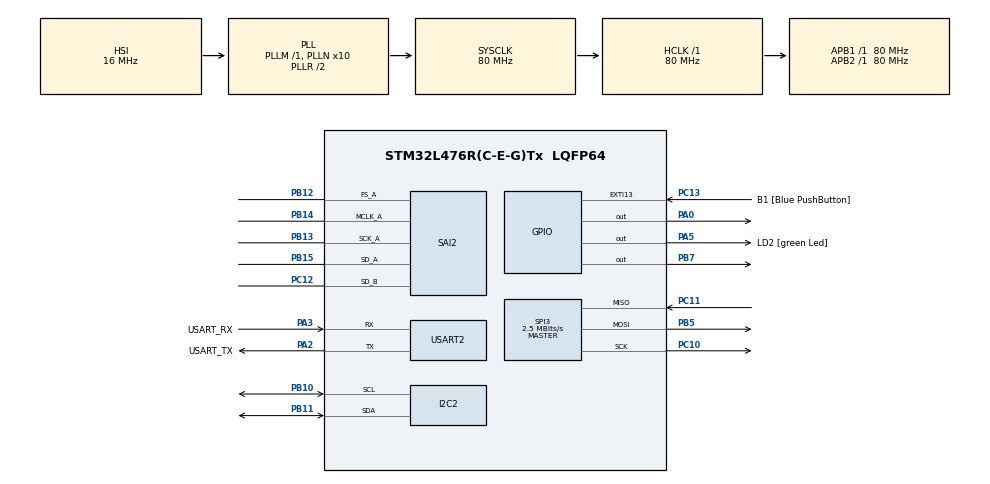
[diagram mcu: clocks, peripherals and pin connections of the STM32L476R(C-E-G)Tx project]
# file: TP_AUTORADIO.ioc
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Dma.Request0=SAI2_A
Dma.Request1=SAI2_B
Dma.SAI2_A.0.Direction=DMA_MEMORY_TO_PERIPH
Dma.SAI2_A.0.Instance=DMA1_Channel6
Dma.SAI2_A.0.MemDataAlignment=DMA_MDATAALIGN_HALFWORD
Dma.SAI2_A.0.MemInc=DMA_MINC_ENABLE
Dma.SAI2_A.0.Mode=DMA_CIRCULAR
Dma.SAI2_A.0.PeriphDataAlignment=DMA_PDATAALIGN_HALFWORD
Dma.SAI2_A.0.PeriphInc=DMA_PINC_DISABLE
Dma.SAI2_A.0.Priority=DMA_PRIORITY_LOW
Dma.SAI2_B.1.Direction=DMA_PERIPH_TO_MEMORY
Dma.SAI2_B.1.Instance=DMA1_Channel7
Dma.SAI2_B.1.MemDataAlignment=DMA_MDATAALIGN_HALFWORD
Dma.SAI2_B.1.MemInc=DMA_MINC_ENABLE
Dma.SAI2_B.1.Mode=DMA_CIRCULAR
Dma.SAI2_B.1.PeriphDataAlignment=DMA_PDATAALIGN_HALFWORD
Dma.SAI2_B.1.PeriphInc=DMA_PINC_DISABLE
Dma.SAI2_B.1.Priority=DMA_PRIORITY_LOW
FREERTOS.Tasks01=defaultTask,0,128,StartDefaultTask,Default,NULL,Dynamic,NULL,NULL
FREERTOS.configTOTAL_HEAP_SIZE=10000
I2C2.Timing=0x10D19CE4
Mcu.Family=STM32L4
Mcu.Name=STM32L476R(C-E-G)Tx
Mcu.Package=LQFP64
NVIC.DMA1_Channel6_IRQn=true\:5\:0\:false\:false\:true\:true\:false\:true\:true
NVIC.DMA1_Channel7_IRQn=true\:5\:0\:false\:false\:true\:true\:false\:true\:true
NVIC.PriorityGroup=NVIC_PRIORITYGROUP_4
NVIC.SAI2_IRQn=true\:5\:0\:false\:false\:true\:true\:true\:true\:true
NVIC.USART2_IRQn=true\:5\:0\:false\:false\:true\:true\:true\:true\:true
PA0.Signal=GPIO_Output
PA13\ (JTMS-SWDIO).GPIO_Label=TMS
PA13\ (JTMS-SWDIO).Mode=Serial_Wire
PA13\ (JTMS-SWDIO).Signal=SYS_JTMS-SWDIO
PA14\ (JTCK-SWCLK).GPIO_Label=TCK
PA14\ (JTCK-SWCLK).Mode=Serial_Wire
PA14\ (JTCK-SWCLK).Signal=SYS_JTCK-SWCLK
PA2.GPIO_Label=USART_TX
PA2.GPIO_Mode=GPIO_MODE_AF_PP
PA2.GPIO_PuPd=GPIO_NOPULL
PA2.GPIO_Speed=GPIO_SPEED_FREQ_VERY_HIGH
PA2.Mode=Asynchronous
PA2.Signal=USART2_TX
PA3.GPIO_Label=USART_RX
PA3.GPIO_Mode=GPIO_MODE_AF_PP
PA3.GPIO_PuPd=GPIO_NOPULL
PA3.GPIO_Speed=GPIO_SPEED_FREQ_VERY_HIGH
PA3.Mode=Asynchronous
PA3.Signal=USART2_RX
PA5.GPIO_Label=LD2 [green Led]
PA5.GPIO_ModeDefaultOutputPP=GPIO_MODE_OUTPUT_PP
PA5.GPIO_PuPd=GPIO_NOPULL
PA5.GPIO_Speed=GPIO_SPEED_FREQ_LOW
PA5.Signal=GPIO_Output
PB10.Mode=I2C
PB10.Signal=I2C2_SCL
PB11.Mode=I2C
PB11.Signal=I2C2_SDA
PB12.Mode=SAI_A_MasterWithClock
PB12.Signal=SAI2_FS_A
PB13.Mode=SAI_A_MasterWithClock
PB13.Signal=SAI2_SCK_A
PB14.Mode=SAI_A_MasterWithClock
PB14.Signal=SAI2_MCLK_A
PB15.Mode=SAI_A_MasterWithClock
PB15.Signal=SAI2_SD_A
PB3\ (JTDO-TRACESWO).GPIO_Label=SWO
PB3\ (JTDO-TRACESWO).Signal=SYS_JTDO-SWO
PB5.Mode=Full_Duplex_Master
PB5.Signal=SPI3_MOSI
PB7.Signal=GPIO_Output
PC10.Mode=Full_Duplex_Master
PC10.Signal=SPI3_SCK
PC11.Mode=Full_Duplex_Master
PC11.Signal=SPI3_MISO
PC12.Mode=SAI_B_SyncSlave
PC12.Signal=SAI2_SD_B
PC13.GPIO_Label=B1 [Blue PushButton]
PC13.GPIO_ModeDefaultEXTI=GPIO_MODE_IT_FALLING
PC13.GPIO_PuPd=GPIO_NOPULL
PC13.Signal=GPXTI13
PC14-OSC32_IN\ (PC14).Mode=LSE-External-Oscillator
PC14-OSC32_IN\ (PC14).Signal=RCC_OSC32_IN
PC15-OSC32_OUT\ (PC15).Mode=LSE-External-Oscillator
PC15-OSC32_OUT\ (PC15).Signal=RCC_OSC32_OUT
PH0-OSC_IN\ (PH0).Signal=RCC_OSC_IN
PH1-OSC_OUT\ (PH1).Signal=RCC_OSC_OUT
ProjectManager.HeapSize=0x200
ProjectManager.StackSize=0x1000
ProjectManager.TargetToolchain=STM32CubeIDE
RCC.ADCFreq_Value=104000000
RCC.AHBFreq_Value=80000000
RCC.APB1Freq_Value=80000000
RCC.APB1TimFreq_Value=80000000
RCC.APB2Freq_Value=80000000
RCC.APB2TimFreq_Value=80000000
RCC.CortexFreq_Value=80000000
RCC.HCLKFreq_Value=80000000
RCC.HSE_VALUE=8000000
RCC.HSI_VALUE=16000000
RCC.MSI_VALUE=4000000
RCC.PLLN=10
RCC.PLLSAI1N=13
RCC.PLLSAI1P=RCC_PLLP_DIV17
RCC.PLLSourceVirtual=RCC_PLLSOURCE_HSI
RCC.PREFETCH_ENABLE=1
RCC.SYSCLKFreq_VALUE=80000000
RCC.SYSCLKSource=RCC_SYSCLKSOURCE_PLLCLK
RCC.USBFreq_Value=104000000
RCC.VCOOutputFreq_Value=160000000
SAI2.AudioFrequency-SAI_A_MasterWithClock=SAI_AUDIO_FREQUENCY_48K
SAI2.ErrorAudioFreq-SAI_A_MasterWithClock=-0.42 %
SAI2.InitProtocol-SAI_A_MasterWithClock=Enable
SAI2.InitProtocol-SAI_B_SyncSlave=Enable
SAI2.Instance-SAI_A_MasterWithClock=SAI$Index_Block_A
SAI2.Instance-SAI_B_SyncSlave=SAI$Index_Block_B
SAI2.MClockEnable-SAI_A_MasterWithClock=SAI_MASTERCLOCK_ENABLE
SAI2.RealAudioFreq-SAI_A_MasterWithClock=47.794 KHz
SAI2.VirtualMode-SAI_A_MasterWithClock=VM_MASTER
SAI2.VirtualMode-SAI_B_SyncSlave=VM_SLAVE
SAI2.VirtualProtocol-SAI_A_BASIC=VM_BASIC_PROTOCOL
SAI2.VirtualProtocol-SAI_B_BASIC=VM_BASIC_PROTOCOL
SPI3.BaudRatePrescaler=SPI_BAUDRATEPRESCALER_32
SPI3.CalculateBaudRate=2.5 MBits/s
SPI3.DataSize=SPI_DATASIZE_8BIT
SPI3.Direction=SPI_DIRECTION_2LINES
SPI3.Mode=SPI_MODE_MASTER
SPI3.VirtualType=VM_MASTER
USART2.VirtualMode-Asynchronous=VM_ASYNC
VP_FREERTOS_VS_CMSIS_V1.Mode=CMSIS_V1
VP_SAI2_VP_$IpInstance_SAIA_SAI_BASIC.Mode=SAI_A_BASIC
VP_SAI2_VP_$IpInstance_SAIB_SAI_BASIC.Mode=SAI_B_BASIC
board=NUCLEO-L476RG

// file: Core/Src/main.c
/* USER CODE BEGIN Header */
/**
  ******************************************************************************
  * @file           : main.c
  * @brief          : Main program body
  ******************************************************************************
  * @attention
  *
  * Copyright (c) 2025 STMicroelectronics.
  * All rights reserved.
  *
  * This software is licensed under terms that can be found in the LICENSE file
  * in the root directory of this software component.
  * If no LICENSE file comes with this software, it is provided AS-IS.
  *
  ******************************************************************************
  */
/* USER CODE END Header */
#include "main.h"
#include "cmsis_os.h"
#include "dma.h"
#include "i2c.h"
#include "sai.h"
#include "spi.h"
#include "usart.h"
#include "gpio.h"

/* USER CODE BEGIN Includes */
#include <stdio.h>
#include "shell.h"
#include <stdlib.h>
#include <string.h>
#include "drv_uart1.h"
#include "GPIO_EXTANDER.h"
#include "sgtl5000.h"
#include "RCFilter.h"
/* USER CODE END Includes */

/* USER CODE BEGIN PTD */
#define AUDIO_BUFFER_SIZE_RX 256
#define AUDIO_BUFFER_SIZE_TX 256
QueueHandle_t uartQueue;      // Queue pour les caractères UART
uint8_t rx_byte; // caractère reçu
int16_t txBuffer[AUDIO_BUFFER_SIZE_TX];
int16_t rxBuffer[AUDIO_BUFFER_SIZE_RX];

//-------- Delay Buffer pour l'écho --------
extern int16_t delay_buffer[DELAY_BUF_SIZE];
extern uint32_t delay_index;
//----------------------------------------

extern MCP23S17_HandleTypeDef hmcp23s17;

h_RC_filter_t filter = {0};
/* USER CODE END PTD */

/* USER CODE BEGIN PV */
h_shell_t h_shell;
/* USER CODE END PV */

void SystemClock_Config(void);
void PeriphCommonClock_Config(void);
void MX_FREERTOS_Init(void);

/* USER CODE BEGIN 0 */
int __io_putchar(int ch)
{
	HAL_UART_Transmit(&huart2, (uint8_t*)&ch, 1, HAL_MAX_DELAY);

	return ch;
}

int fonction(h_shell_t * h_shell, int argc, char ** argv)
{
	int size = snprintf (h_shell->print_buffer, BUFFER_SIZE, "Je suis une fonction bidon\r\n");
	h_shell->drv.transmit(h_shell->print_buffer, size);

	return 0;
}

int LED(h_shell_t * h_shell, int argc, char ** argv)
{
	int numero;
	int size;
	//Select_LED('B', 1,1);
	if (strcmp(argv[1], "\r") == 0)
	{
		numero = atoi(argv[0]);
		if (numero > 8)
		{
			Select_LED('B', 16-numero,1);
		}
		else
		{
			Select_LED('A', numero,1);
		}
		size = snprintf(h_shell->print_buffer,BUFFER_SIZE,"c'est fait chef");
	}

	else if (strcmp(argv[1], "1") == 0)
	{
		numero = atoi(argv[0]) * 10 + atoi(argv[1]);
		Select_LED('B', 16-numero,1);
		size = snprintf(h_shell->print_buffer,BUFFER_SIZE,"c'est fait chef");
	}
	else
	{
		size = snprintf(h_shell->print_buffer,BUFFER_SIZE,"Il y a pas assez de led");
	}
	drv_uart1_transmit(h_shell->print_buffer,size);
	return 0;

}

int cutoff(h_shell_t * h_shell, int argc, char ** argv)
{
	int size;
	if (atoi(argv[1])>0 && atoi(argv[1]) < 1000000000)
	{
		RC_filter_init(&filter,atoi(argv[1]), 48000);
		size = snprintf(h_shell->print_buffer,BUFFER_SIZE,"la frequence a bien ete change");

	}
	else{
		size = snprintf(h_shell->print_buffer,BUFFER_SIZE,"la frequence est trop haut ou trop basse !");
	}
	drv_uart1_transmit(h_shell->print_buffer,size);
	return 0;
}

void Task_shell(void)
{
	  shell_init(&h_shell);
	  shell_add(&h_shell,'f', fonction, "Une fonction inutile");
	  shell_add(&h_shell,'L',LED,"Une fonction pour allumer les LEDs");
	  shell_add(&h_shell,'C',cutoff,"Une fonction pour changer la fréquence de coupure");

	  shell_run(&h_shell);
}

void Task_MIC(void const *argument)
{
    (void)argument;  // Si tu utilises osThread

    for(;;)
    {
    	transmit_mic(&filter,txBuffer,rxBuffer,AUDIO_BUFFER_SIZE_RX);
    }
}
/* USER CODE END 0 */

int main(void)
{

  /* MCU Configuration--------------------------------------------------------*/

  /* Reset of all peripherals, Initializes the Flash interface and the Systick. */
  HAL_Init();

  /* Configure the system clock */
  SystemClock_Config();

  /* Configure the peripherals common clocks */
  PeriphCommonClock_Config();

  /* Initialize all configured peripherals */
  MX_GPIO_Init();
  MX_DMA_Init();
  MX_USART2_UART_Init();
  MX_SPI3_Init();
  MX_I2C2_Init();
  MX_SAI2_Init();
  /* USER CODE BEGIN 2 */
  //h_shell.drv.receive = drv_uart1_receive;
  MCP23S17_Init();
  MCP23S17_SetAllPinsHigh();
  __HAL_SAI_ENABLE(&hsai_BlockA2);

  uint8_t chip_id = 0;
  HAL_StatusTypeDef status;

  status = HAL_I2C_Mem_Read(
      &hi2c2,              // Handle I2C2
      0x14,           // Adresse I2C du CODEC (décalée)
      0x0000,              // Adresse du registre CHIP_ID
      I2C_MEMADD_SIZE_16BIT,
      &chip_id,            // Buffer où stocker la donnée
      1,                   // Lire 1 octet
      100                  // Timeout
  );

  h_shell.drv.transmit = drv_uart1_transmit;
  uartQueue = xQueueCreate(32, sizeof(uint8_t));
  HAL_UART_Receive_IT(&huart2, &rx_byte, 1);

  uint16_t sgtl_address = 0x14;
  uint16_t data;

  h_sgtl5000_t h_sgtl5000;
  h_sgtl5000.hi2c = &hi2c2;
  h_sgtl5000.dev_address = sgtl_address;

  sgtl5000_init(&h_sgtl5000);

  //generateTriangle(txBuffer, AUDIO_BUFFER_SIZE, 10000);
  //generateSquare(txBuffer, AUDIO_BUFFER_SIZE, 30000);
  HAL_SAI_Transmit_DMA(&hsai_BlockA2, txBuffer, AUDIO_BUFFER_SIZE_TX);
  HAL_SAI_Receive_DMA(&hsai_BlockB2, rxBuffer, AUDIO_BUFFER_SIZE_RX);

  RC_filter_init(&filter,10000, 48000);

  xTaskCreate(Task_shell, "Shell", 512, NULL, 1, NULL);
  xTaskCreate(Task_MIC, "Mic", 512, NULL, 1, NULL);

  /* USER CODE END 2 */

  /* Call init function for freertos objects (in cmsis_os2.c) */
  MX_FREERTOS_Init();

  /* Start scheduler */
  osKernelStart();

  /* We should never get here as control is now taken by the scheduler */

  /* Infinite loop */
  while (1)
  {

  }
}

void SystemClock_Config(void)
{
  RCC_OscInitTypeDef RCC_OscInitStruct = {0};
  RCC_ClkInitTypeDef RCC_ClkInitStruct = {0};

  /** Configure the main internal regulator output voltage
  */
  if (HAL_PWREx_ControlVoltageScaling(PWR_REGULATOR_VOLTAGE_SCALE1) != HAL_OK)
  {
    Error_Handler();
  }

  /** Initializes the RCC Oscillators according to the specified parameters
  * in the RCC_OscInitTypeDef structure.
  */
  RCC_OscInitStruct.OscillatorType = RCC_OSCILLATORTYPE_HSI;
  RCC_OscInitStruct.HSIState = RCC_HSI_ON;
  RCC_OscInitStruct.HSICalibrationValue = RCC_HSICALIBRATION_DEFAULT;
  RCC_OscInitStruct.PLL.PLLState = RCC_PLL_ON;
  RCC_OscInitStruct.PLL.PLLSource = RCC_PLLSOURCE_HSI;
  RCC_OscInitStruct.PLL.PLLM = 1;
  RCC_OscInitStruct.PLL.PLLN = 10;
  RCC_OscInitStruct.PLL.PLLP = RCC_PLLP_DIV7;
  RCC_OscInitStruct.PLL.PLLQ = RCC_PLLQ_DIV2;
  RCC_OscInitStruct.PLL.PLLR = RCC_PLLR_DIV2;
  if (HAL_RCC_OscConfig(&RCC_OscInitStruct) != HAL_OK)
  {
    Error_Handler();
  }

  /** Initializes the CPU, AHB and APB buses clocks
  */
  RCC_ClkInitStruct.ClockType = RCC_CLOCKTYPE_HCLK|RCC_CLOCKTYPE_SYSCLK
                              |RCC_CLOCKTYPE_PCLK1|RCC_CLOCKTYPE_PCLK2;
  RCC_ClkInitStruct.SYSCLKSource = RCC_SYSCLKSOURCE_PLLCLK;
  RCC_ClkInitStruct.AHBCLKDivider = RCC_SYSCLK_DIV1;
  RCC_ClkInitStruct.APB1CLKDivider = RCC_HCLK_DIV1;
  RCC_ClkInitStruct.APB2CLKDivider = RCC_HCLK_DIV1;

  if (HAL_RCC_ClockConfig(&RCC_ClkInitStruct, FLASH_LATENCY_4) != HAL_OK)
  {
    Error_Handler();
  }
}

void PeriphCommonClock_Config(void)
{
  RCC_PeriphCLKInitTypeDef PeriphClkInit = {0};

  /** Initializes the peripherals clock
  */
  PeriphClkInit.PeriphClockSelection = RCC_PERIPHCLK_SAI2;
  PeriphClkInit.Sai2ClockSelection = RCC_SAI2CLKSOURCE_PLLSAI1;
  PeriphClkInit.PLLSAI1.PLLSAI1Source = RCC_PLLSOURCE_HSI;
  PeriphClkInit.PLLSAI1.PLLSAI1M = 1;
  PeriphClkInit.PLLSAI1.PLLSAI1N = 13;
  PeriphClkInit.PLLSAI1.PLLSAI1P = RCC_PLLP_DIV17;
  PeriphClkInit.PLLSAI1.PLLSAI1Q = RCC_PLLQ_DIV2;
  PeriphClkInit.PLLSAI1.PLLSAI1R = RCC_PLLR_DIV2;
  PeriphClkInit.PLLSAI1.PLLSAI1ClockOut = RCC_PLLSAI1_SAI1CLK;
  if (HAL_RCCEx_PeriphCLKConfig(&PeriphClkInit) != HAL_OK)
  {
    Error_Handler();
  }
}

/* USER CODE BEGIN 4 */
void HAL_UART_RxCpltCallback(UART_HandleTypeDef *huart)
{
    if(huart->Instance == USART2) // Vérifier qu'il s'agit bien de l'UART2
    {
    	BaseType_t xHigherPriorityTaskWoken = pdFALSE;
		xQueueSendFromISR(uartQueue, &rx_byte, &xHigherPriorityTaskWoken);

		// Relancer la réception
		HAL_UART_Receive_IT(&huart2, &rx_byte, 1);

		// Si une tâche a été réveillée par l’ISR, demander un switch
		portYIELD_FROM_ISR(xHigherPriorityTaskWoken);
    }
}

void HAL_SAI_TxHalfCpltCallback(SAI_HandleTypeDef *hsai)
{
    //generateTriangle(&txBuffer[0], AUDIO_BUFFER_SIZE/2, 12000);
}

void HAL_SAI_TxCpltCallback(SAI_HandleTypeDef *hsai)
{
    //generateTriangle(&txBuffer[AUDIO_BUFFER_SIZE/2], AUDIO_BUFFER_SIZE/2, 12000);
}

void HAL_SAI_RxHalfCpltCallback(SAI_HandleTypeDef *hsai)
{
	if (hsai->Instance == SAI2_Block_B)
	{
		Process_Audio_Buffer(rxBuffer,txBuffer, AUDIO_BUFFER_SIZE_RX / 2);
	}
}

void HAL_SAI_RxCpltCallback(SAI_HandleTypeDef *hsai)
{
    Process_Audio_Buffer(&rxBuffer[AUDIO_BUFFER_SIZE_RX / 2], &txBuffer[AUDIO_BUFFER_SIZE_RX / 2], AUDIO_BUFFER_SIZE_RX / 2);

    int32_t sum = 0;
    for(int i = 0; i < AUDIO_BUFFER_SIZE_RX; i++) {
        sum += abs(rxBuffer[i]);
    }
    // amplitude moyenne
    float amplitude = (float)sum / (float)AUDIO_BUFFER_SIZE_RX;
    updateVUMeter(amplitude);
}

/* USER CODE END 4 */

void Error_Handler(void)
{
  __disable_irq();
  while (1)
  {
  }
}
